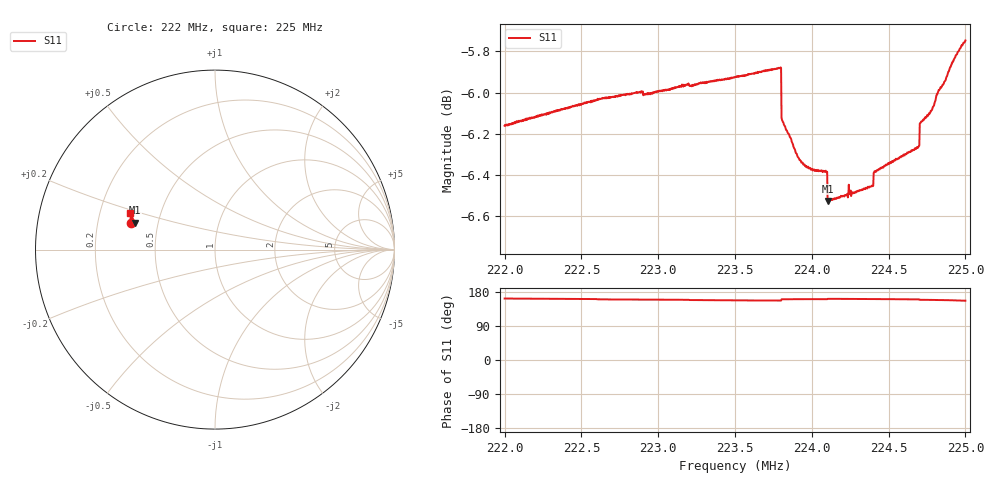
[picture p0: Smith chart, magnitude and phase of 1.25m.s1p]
! Calibrated averaged scanner-service zoom
# Hz S RI R 50
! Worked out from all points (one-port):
!   1001 points, 222 MHz to 225 MHz, reference 50 ohm
!   lowest |S11| = -6.5 dB at 224.11 MHz (marker M1), VSWR 2.79, Z = 18.4 + j7.12 ohm
!   |S11| at or under -10 dB: nowhere
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2.22e8  -0.4684 0.1506
2.22375e8  -0.4704 0.1587
2.22585e8  -0.4711 0.1639
2.22618e8  -0.4696 0.1701
2.2275e8  -0.4691 0.174
2.22918e8  -0.4692 0.175
2.23125e8  -0.4693 0.18
2.23185e8  -0.4696 0.1815
2.23218e8  -0.4671 0.1865
2.235e8  -0.4668 0.1941
2.23785e8  -0.4673 0.1997
2.23818e8  -0.4632 0.1667
2.23875e8  -0.4588 0.1635
2.23959e8  -0.4535 0.16
2.24085e8  -0.452 0.1601
2.24106e8  -0.447 0.1506
2.24118e8  -0.4472 0.1507
2.2425e8  -0.4482 0.1528
2.24385e8  -0.4489 0.1566
2.24418e8  -0.4526 0.1583
2.24625e8  -0.4558 0.1646
2.24685e8  -0.4565 0.1671
2.24718e8  -0.4599 0.178
2.24781e8  -0.462 0.1813
2.24823e8  -0.4657 0.1861
2.24868e8  -0.468 0.1883
2.24928e8  -0.4714 0.1965
2.25e8  -0.473 0.2062
